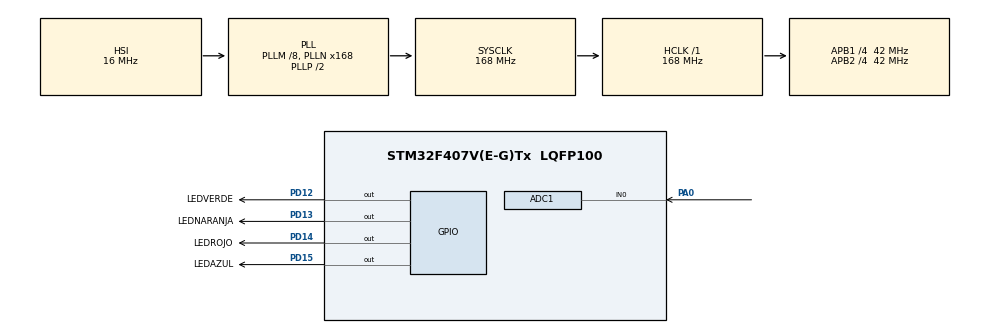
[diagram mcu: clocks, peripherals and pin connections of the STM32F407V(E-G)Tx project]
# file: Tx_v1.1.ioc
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ADC1.Channel-0\#ChannelRegularConversion=ADC_CHANNEL_0
ADC1.ClockPrescaler=ADC_CLOCK_SYNC_PCLK_DIV4
ADC1.ContinuousConvMode=ENABLE
ADC1.EOCSelection=ADC_EOC_SINGLE_CONV
ADC1.NbrOfConversion=1
ADC1.NbrOfConversionFlag=1
ADC1.Rank-0\#ChannelRegularConversion=1
ADC1.SamplingTime-0\#ChannelRegularConversion=ADC_SAMPLETIME_15CYCLES
ADC1.master=1
Mcu.Family=STM32F4
Mcu.Name=STM32F407V(E-G)Tx
Mcu.Package=LQFP100
NVIC.PriorityGroup=NVIC_PRIORITYGROUP_0
PA0-WKUP.Signal=ADCx_IN0
PD12.GPIO_Label=LEDVERDE
PD12.GPIO_PuPd=GPIO_NOPULL
PD12.GPIO_Speed=GPIO_SPEED_FREQ_LOW
PD12.Signal=GPIO_Output
PD13.GPIO_Label=LEDNARANJA
PD13.GPIO_PuPd=GPIO_NOPULL
PD13.GPIO_Speed=GPIO_SPEED_FREQ_LOW
PD13.Signal=GPIO_Output
PD14.GPIO_Label=LEDROJO
PD14.GPIO_PuPd=GPIO_NOPULL
PD14.GPIO_Speed=GPIO_SPEED_FREQ_LOW
PD14.Signal=GPIO_Output
PD15.GPIO_Label=LEDAZUL
PD15.GPIO_PuPd=GPIO_NOPULL
PD15.GPIO_Speed=GPIO_SPEED_FREQ_LOW
PD15.Signal=GPIO_Output
PH0-OSC_IN.Signal=RCC_OSC_IN
PH1-OSC_OUT.Signal=RCC_OSC_OUT
ProjectManager.HeapSize=0x200
ProjectManager.StackSize=0x400
ProjectManager.TargetToolchain=SW4STM32
RCC.48MHZClocksFreq_Value=48000000
RCC.AHBFreq_Value=168000000
RCC.APB1CLKDivider=RCC_HCLK_DIV4
RCC.APB1Freq_Value=42000000
RCC.APB1TimFreq_Value=84000000
RCC.APB2CLKDivider=RCC_HCLK_DIV4
RCC.APB2Freq_Value=42000000
RCC.APB2TimFreq_Value=84000000
RCC.CortexFreq_Value=168000000
RCC.HCLKFreq_Value=168000000
RCC.HSE_VALUE=8000000
RCC.HSI_VALUE=16000000
RCC.LSE_VALUE=32768
RCC.PLLM=8
RCC.PLLN=168
RCC.PLLQ=7
RCC.SYSCLKFreq_VALUE=168000000
RCC.SYSCLKSource=RCC_SYSCLKSOURCE_PLLCLK
RCC.VCOOutputFreq_Value=336000000
SH.ADCx_IN0.0=ADC1_IN0,IN0
board=STM32F407G-DISC1

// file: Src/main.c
/* USER CODE BEGIN Header */
/**
  ******************************************************************************
  * @file           : main.c
  * @brief          : Main program body
  ******************************************************************************
  * @attention
  *
  * <h2><center>&copy; Copyright (c) 2019 STMicroelectronics.
  * All rights reserved.</center></h2>
  *
  * This software component is licensed by ST under BSD 3-Clause license,
  * the "License"; You may not use this file except in compliance with the
  * License. You may obtain a copy of the License at:
  *                        opensource.org/licenses/BSD-3-Clause
  *
  ******************************************************************************
  */
/* USER CODE END Header */

#include "main.h"

ADC_HandleTypeDef hadc1;

void SystemClock_Config(void);
static void MX_GPIO_Init(void);
static void MX_ADC1_Init(void);
/* USER CODE BEGIN PFP */
void LeerTemperatura();
void DecimalBinario();
/* USER CODE END PFP */

/* USER CODE BEGIN 0 */
//int Array[]={0,1,0,0,0,1,1,0,1,1,0,0,1,1,0,0};
int ArrayPrueba[]={0,1,0,0,0,1,1,0,0,0,0,0,0,0,0,0};		//una vez q funcione cambiar el nombre
int cont;
int i, e, Paridad;

int lectura_adc;		//lo pasé de float a int para la conversion a binario
char buffer[6];
int temperatura;		//lo pasé de float a int para la conversion a binario
/* USER CODE END 0 */

int main(void)
{

  /* MCU Configuration--------------------------------------------------------*/

  /* Reset of all peripherals, Initializes the Flash interface and the Systick. */
  HAL_Init();

  /* Configure the system clock */
  SystemClock_Config();

  /* Initialize all configured peripherals */
  MX_GPIO_Init();
  MX_ADC1_Init();

  /* Infinite loop */
  /* USER CODE BEGIN WHILE */
  while (1) {
	  LeerTemperatura();
	  DecimalBinario();
		  	  int SumaParidad=0,p;
		  	  	for(p=14;p>=8;p--){
		  	  		if(ArrayPrueba[p]==1){
		  	  			SumaParidad=SumaParidad+1;
		  	  		}

		  	  	}
		  	  	Paridad=SumaParidad%2;
		  	  	ArrayPrueba[15]=Paridad;

		    /* ENVIO DE LA TRAMA */

		  for(e=0;e<10;e++){

		   	  for(cont=0;cont<16;cont++){
		   		  HAL_Delay(20);
		   		  if(ArrayPrueba[cont]==1){						//cambiar por ArrayPrueba y ver el orden en que se envía
		  	  			  HAL_GPIO_WritePin(GPIOD, GPIO_PIN_12, GPIO_PIN_SET);
		  	  		  }
		   		  else{
		  	  			  HAL_GPIO_WritePin(GPIOD, GPIO_PIN_12, GPIO_PIN_RESET);
		  	  		  }

		  	  	  }
		  	  }
    /* USER CODE END WHILE */

    /* USER CODE BEGIN 3 */
  } //Llave while
  /* USER CODE END 3 */
}

void SystemClock_Config(void)
{
  RCC_OscInitTypeDef RCC_OscInitStruct = {0};
  RCC_ClkInitTypeDef RCC_ClkInitStruct = {0};

  /** Configure the main internal regulator output voltage
  */
  __HAL_RCC_PWR_CLK_ENABLE();
  __HAL_PWR_VOLTAGESCALING_CONFIG(PWR_REGULATOR_VOLTAGE_SCALE1);
  /** Initializes the CPU, AHB and APB busses clocks
  */
  RCC_OscInitStruct.OscillatorType = RCC_OSCILLATORTYPE_HSI;
  RCC_OscInitStruct.HSIState = RCC_HSI_ON;
  RCC_OscInitStruct.HSICalibrationValue = RCC_HSICALIBRATION_DEFAULT;
  RCC_OscInitStruct.PLL.PLLState = RCC_PLL_ON;
  RCC_OscInitStruct.PLL.PLLSource = RCC_PLLSOURCE_HSI;
  RCC_OscInitStruct.PLL.PLLM = 8;
  RCC_OscInitStruct.PLL.PLLN = 168;
  RCC_OscInitStruct.PLL.PLLP = RCC_PLLP_DIV2;
  RCC_OscInitStruct.PLL.PLLQ = 7;
  if (HAL_RCC_OscConfig(&RCC_OscInitStruct) != HAL_OK)
  {
    Error_Handler();
  }
  /** Initializes the CPU, AHB and APB busses clocks
  */
  RCC_ClkInitStruct.ClockType = RCC_CLOCKTYPE_HCLK|RCC_CLOCKTYPE_SYSCLK
                              |RCC_CLOCKTYPE_PCLK1|RCC_CLOCKTYPE_PCLK2;
  RCC_ClkInitStruct.SYSCLKSource = RCC_SYSCLKSOURCE_PLLCLK;
  RCC_ClkInitStruct.AHBCLKDivider = RCC_SYSCLK_DIV1;
  RCC_ClkInitStruct.APB1CLKDivider = RCC_HCLK_DIV4;
  RCC_ClkInitStruct.APB2CLKDivider = RCC_HCLK_DIV4;

  if (HAL_RCC_ClockConfig(&RCC_ClkInitStruct, FLASH_LATENCY_5) != HAL_OK)
  {
    Error_Handler();
  }
}

static void MX_ADC1_Init(void)
{

  ADC_ChannelConfTypeDef sConfig = {0};

  /** Configure the global features of the ADC (Clock, Resolution, Data Alignment and number of conversion)
  */
  hadc1.Instance = ADC1;
  hadc1.Init.ClockPrescaler = ADC_CLOCK_SYNC_PCLK_DIV4;
  hadc1.Init.Resolution = ADC_RESOLUTION_12B;
  hadc1.Init.ScanConvMode = DISABLE;
  hadc1.Init.ContinuousConvMode = ENABLE;
  hadc1.Init.DiscontinuousConvMode = DISABLE;
  hadc1.Init.ExternalTrigConvEdge = ADC_EXTERNALTRIGCONVEDGE_NONE;
  hadc1.Init.ExternalTrigConv = ADC_SOFTWARE_START;
  hadc1.Init.DataAlign = ADC_DATAALIGN_RIGHT;
  hadc1.Init.NbrOfConversion = 1;
  hadc1.Init.DMAContinuousRequests = DISABLE;
  hadc1.Init.EOCSelection = ADC_EOC_SINGLE_CONV;
  if (HAL_ADC_Init(&hadc1) != HAL_OK)
  {
    Error_Handler();
  }
  /** Configure for the selected ADC regular channel its corresponding rank in the sequencer and its sample time.
  */
  sConfig.Channel = ADC_CHANNEL_0;
  sConfig.Rank = 1;
  sConfig.SamplingTime = ADC_SAMPLETIME_15CYCLES;
  if (HAL_ADC_ConfigChannel(&hadc1, &sConfig) != HAL_OK)
  {
    Error_Handler();
  }

}

static void MX_GPIO_Init(void)
{
  GPIO_InitTypeDef GPIO_InitStruct = {0};

  /* GPIO Ports Clock Enable */
  __HAL_RCC_GPIOH_CLK_ENABLE();
  __HAL_RCC_GPIOA_CLK_ENABLE();
  __HAL_RCC_GPIOD_CLK_ENABLE();

  /*Configure GPIO pin Output Level */
  HAL_GPIO_WritePin(GPIOD, LEDVERDE_Pin|LEDNARANJA_Pin|LEDROJO_Pin|LEDAZUL_Pin, GPIO_PIN_RESET);

  /*Configure GPIO pins : LEDVERDE_Pin LEDNARANJA_Pin LEDROJO_Pin LEDAZUL_Pin */
  GPIO_InitStruct.Pin = LEDVERDE_Pin|LEDNARANJA_Pin|LEDROJO_Pin|LEDAZUL_Pin;
  GPIO_InitStruct.Mode = GPIO_MODE_OUTPUT_PP;
  GPIO_InitStruct.Pull = GPIO_NOPULL;
  GPIO_InitStruct.Speed = GPIO_SPEED_FREQ_LOW;
  HAL_GPIO_Init(GPIOD, &GPIO_InitStruct);

}

/* USER CODE BEGIN 4 */
void LeerTemperatura(){
		HAL_ADC_Start(&hadc1); //Inicio la conversión
		lectura_adc = HAL_ADC_GetValue(&hadc1);		//Obtengo valor de la conversión (0-4096)
		temperatura=(0.0708*lectura_adc);				//convierto el valor a °C
		HAL_Delay(10);
		//sprintf(buffer,"%2.1f",temperatura);
		}

void DecimalBinario(){ //+paridad
	int dividendo=temperatura, c, bin;

	for(c=14;c>=8;c--){					//estaba c=15 lo que comenzaba a escribir el dato en el bit de paridad
		if(dividendo!=0){
			bin = dividendo % 2;
			ArrayPrueba[c]=bin;
			dividendo=dividendo/2;
		}
		else{
			ArrayPrueba[c]=0;
		}
	}

}
/* USER CODE END 4 */

void Error_Handler(void)
{
}

/************************ (C) COPYRIGHT STMicroelectronics *****END OF FILE****/
